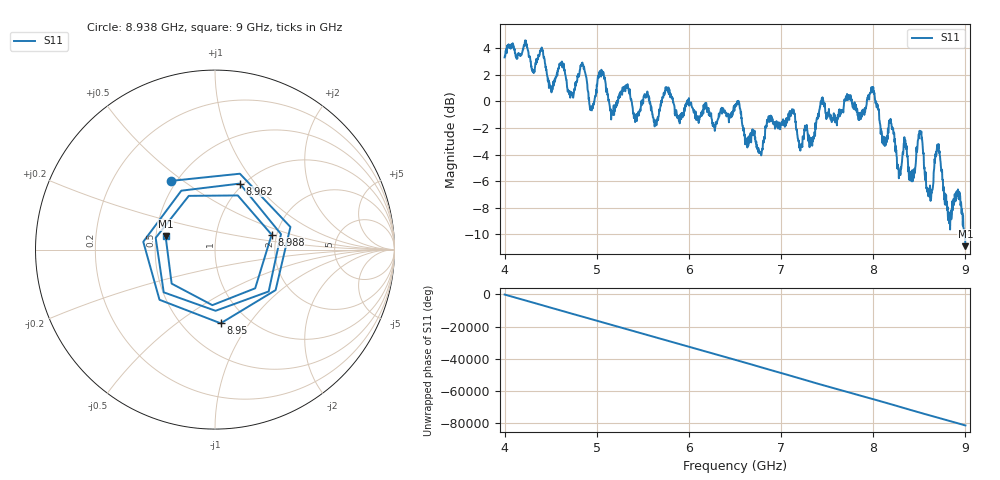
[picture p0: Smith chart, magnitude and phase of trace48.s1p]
! Created with skrf 1.8.0 (http://scikit-rf.org).
# Hz S RI R 50.0
!freq ReS11 ImS11
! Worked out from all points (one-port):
!   1601 points, 4 GHz to 9 GHz, reference 50 ohm
!   lowest |S11| = -10.9 dB at 9 GHz (marker M1), VSWR 1.80, Z = 28.2 + j4.54 ohm
!   |S11| at or under -10 dB: 8.989941 GHz to end of sweep
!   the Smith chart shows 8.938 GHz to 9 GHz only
!   S11 on the Smith chart (normalised r, x): 8.938 GHz: 0.47, +0.45; 8.95 GHz: 0.75, -0.74; 8.962 GHz: 0.96, +0.84; 8.988 GHz: 1.88, +0.35; 9 GHz: 0.56, +0.09
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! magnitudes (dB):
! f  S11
! 4 GHz  3.3
! 4.506 GHz  0.8
! 4.625 GHz  2.6
! 4.728 GHz  0.6
! 4.847 GHz  2.7
! 4.944 GHz  -0.7
! 5.047 GHz  1.9
! 5.162 GHz  -0.9
! 5.25 GHz  0.5
! 5.875 GHz  -1.0
! 6.5 GHz  -0.3
! 6.769 GHz  -3.8
! 7.125 GHz  -0.9
! 7.206 GHz  -3.3
! 7.75 GHz  0.3
! 7.991 GHz  0.9
! 8.281 GHz  -5.2
! 8.375 GHz  -4.3
! 8.434 GHz  -5.4
! 8.509 GHz  -2.3
! 8.603 GHz  -7.0
! 8.7 GHz  -3.7
! 8.828 GHz  -8.9
! 8.938 GHz  -6.9
! 8.95 GHz  -7.7
! 8.962 GHz  -8.1
! 8.988 GHz  -9.7
! 9 GHz  -10.9
